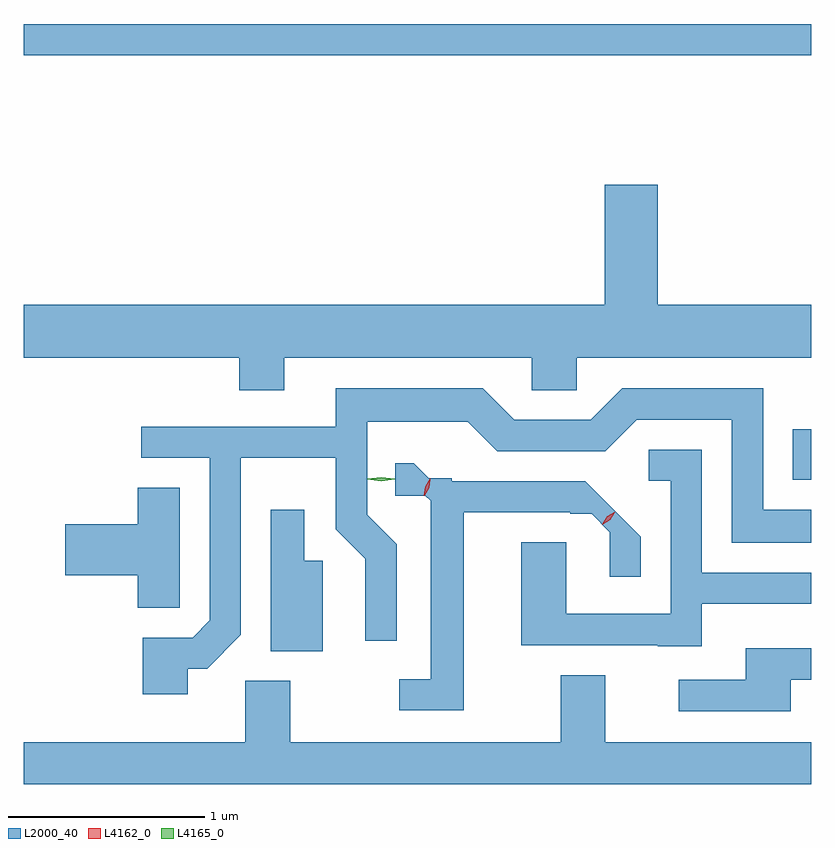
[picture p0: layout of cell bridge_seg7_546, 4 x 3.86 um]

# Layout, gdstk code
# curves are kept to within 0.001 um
import gdstk
lib = gdstk.Library(unit=1e-6, precision=1e-09)
def R(c, l, rs):  # rectangles x0, y0, x1, y1
    for r in rs: c.add(gdstk.rectangle(r[:2], r[2:], *l))
def P(c, l, *ps):  # polygons
    for p in ps: c.add(gdstk.Polygon(p, *l))
L2000_40 = (2000, 40)
L4162_0 = (4162, 0)
L4165_0 = (4165, 0)

bridge_seg7_546 = lib.new_cell('bridge_seg7_546')
R(bridge_seg7_546, L2000_40, [(1035.211,1762.536,1035.305,1762.793), (1031.305,1764.691,1035.305,1764.849)])
P(bridge_seg7_546, L2000_40, [(1032.629,1763.156),(1033.886,1763.156),(1033.886,1762.991),(1034.114,1762.991),(1034.114,1763.156),(1035.305,1763.156),(1035.305,1763.424),(1034.524,1763.424),(1034.524,1764.034),(1034.256,1764.034),(1034.256,1763.424),(1031.305,1763.424),(1031.305,1763.156),(1032.401,1763.156),(1032.401,1762.991),(1032.629,1762.991)],
  [(1032.139,1761.576),(1032.237,1761.576),(1032.409,1761.749),(1032.409,1762.646),(1032.891,1762.646),(1032.891,1762.284),(1033.041,1762.134),(1033.041,1761.718),(1033.199,1761.718),(1033.199,1762.207),(1033.049,1762.357),(1033.049,1762.831),(1033.559,1762.831),(1033.709,1762.681),(1034.257,1762.681),(1034.417,1762.841),(1034.901,1762.841),(1034.901,1762.216),(1035.305,1762.216),(1035.305,1762.384),(1035.059,1762.384),(1035.059,1762.999),(1034.344,1762.999),(1034.184,1762.839),(1033.796,1762.839),(1033.637,1762.999),(1032.891,1762.999),(1032.891,1762.804),(1031.902,1762.804),(1031.902,1762.646),(1032.251,1762.646),(1032.251,1761.822),(1032.164,1761.734),(1031.911,1761.734),(1031.911,1761.446),(1032.139,1761.446)],
  [(1034.749,1761.906),(1035.305,1761.906),(1035.305,1762.064),(1034.749,1762.064),(1034.749,1762.689),(1034.478,1762.689),(1034.478,1762.531),(1034.591,1762.531),(1034.591,1761.854),(1034.059,1761.854),(1034.059,1762.219),(1033.831,1762.219),(1033.831,1761.696),(1034.525,1761.696),(1034.525,1761.691),(1034.749,1761.691)],
  [(1033.539,1762.371),(1034.08,1762.371),(1034.08,1762.363),(1034.189,1762.363),(1034.282,1762.27),(1034.281,1762.043),(1034.439,1762.043),(1034.439,1762.247),(1034.157,1762.529),(1033.48,1762.529),(1033.48,1762.543),(1033.363,1762.543),(1033.287,1762.618),(1033.193,1762.618),(1033.193,1762.455),(1033.345,1762.455),(1033.371,1762.429),(1033.371,1761.524),(1033.213,1761.524),(1033.213,1761.366),(1033.539,1761.366)],
  [(1032.099,1762.494),(1031.886,1762.494),(1031.886,1762.309),(1031.516,1762.309),(1031.516,1762.051),(1031.886,1762.051),(1031.886,1761.886),(1032.099,1761.886)],
  [(1032.824,1762.124),(1032.729,1762.124),(1032.729,1762.383),(1032.561,1762.383),(1032.561,1761.666),(1032.824,1761.666)],
  [(1035.199,1761.521),(1035.305,1761.521),(1035.305,1761.679),(1034.971,1761.679),(1034.971,1761.519),(1034.632,1761.519),(1034.632,1761.361),(1035.199,1761.361)],
  [(1035.305,1761.204),(1034.259,1761.204),(1034.259,1761.544),(1034.031,1761.544),(1034.031,1761.204),(1032.659,1761.204),(1032.659,1761.514),(1032.431,1761.514),(1032.431,1761.204),(1031.305,1761.204),(1031.305,1760.991),(1035.305,1760.991)])
P(bridge_seg7_546, L4162_0, [(1034.245,1762.313),(1034.245,1762.314),(1034.269,1762.349),(1034.305,1762.37),(1034.306,1762.37),(1034.306,1762.37),(1034.282,1762.334),(1034.246,1762.313)],
  [(1033.341,1762.458),(1033.341,1762.458),(1033.346,1762.5),(1033.368,1762.536),(1033.368,1762.537),(1033.369,1762.536),(1033.364,1762.494),(1033.342,1762.458)],
  [(1034.242,1762.308),(1034.242,1762.309),(1034.27,1762.348),(1034.31,1762.374),(1034.31,1762.374),(1034.31,1762.373),(1034.283,1762.333),(1034.243,1762.308)],
  [(1033.336,1762.454),(1033.336,1762.454),(1033.344,1762.501),(1033.369,1762.542),(1033.37,1762.542),(1033.37,1762.541),(1033.362,1762.494),(1033.337,1762.454)])
P(bridge_seg7_546, L4165_0, [(1033.12,1762.529),(1033.051,1762.539),(1033.051,1762.539),(1033.051,1762.54),(1033.12,1762.549),(1033.19,1762.54),(1033.19,1762.539),(1033.19,1762.539)])

lib.write_gds('bridge_seg7_546.gds')
